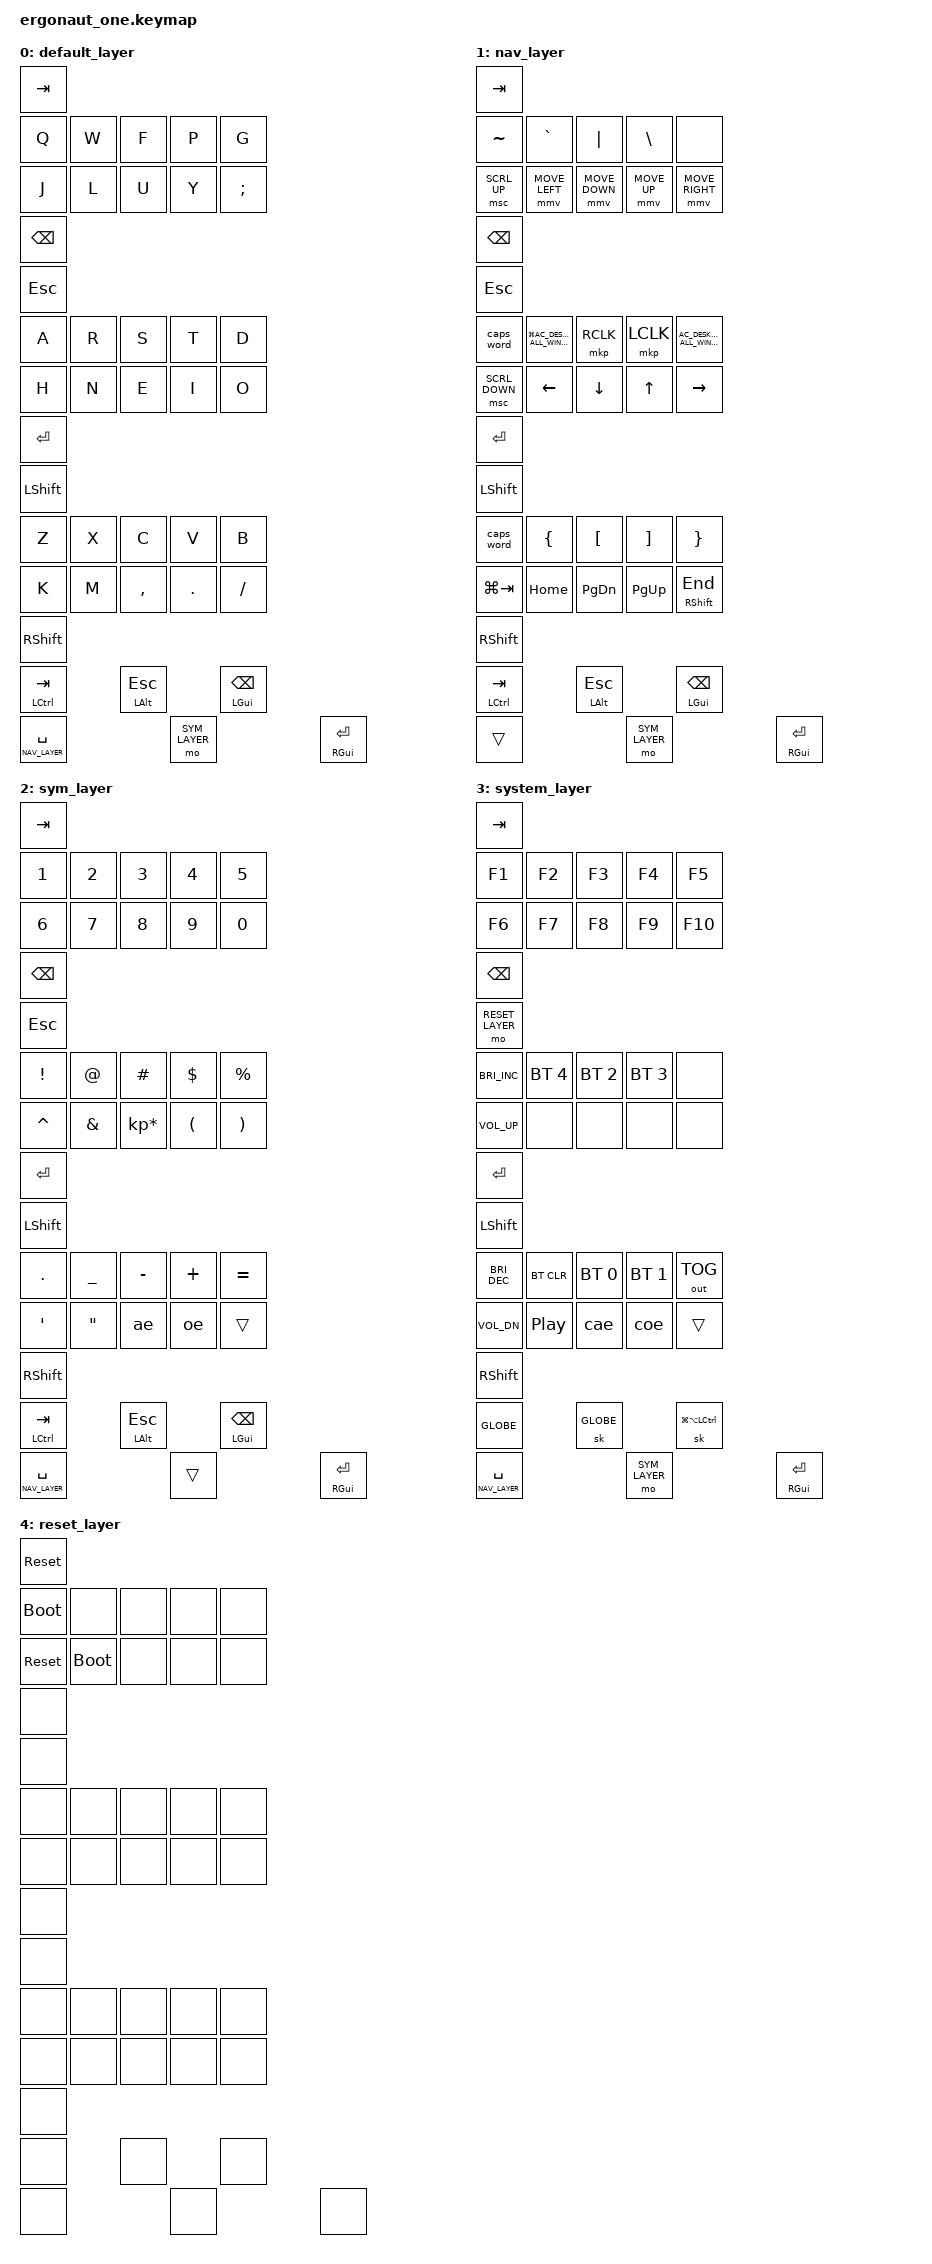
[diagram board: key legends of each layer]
#include <behaviors.dtsi>
#include <dt-bindings/zmk/keys.h>
#include <dt-bindings/zmk/bt.h>
#include <dt-bindings/zmk/mouse.h>
#include <dt-bindings/zmk/outputs.h>

#define NAV_LAYER 1
#define SYM_LAYER 2
#define SYSTEM_LAYER 3
#define RESET_LAYER 4

/ {
        behaviors {
                ht: holdtap {
                        compatible = "zmk,behavior-hold-tap";
                        label = "THUMB_HOLD_TAPS";
                        #binding-cells = <2>;
                        tapping-term-ms = <300>;
                        flavor = "balanced";
                        global-quick-tap;
                        quick-tap-ms = <0>;
                        bindings = <&kp>, <&kp>;
                };
        };

        macros {
                ae: ae {
                        label = "ä";
                        compatible = "zmk,behavior-macro";
                        #binding-cells = <0>;
                        wait-ms = <40>;
                        tap-ms = <40>;
                        bindings
                                = <&macro_press &kp LALT>
                                , <&macro_tap &kp U>
                                , <&macro_release &kp LALT>
                                , <&macro_tap &kp A>
                                ;
                };
                oe: oe {
                        label = "ö";
                        compatible = "zmk,behavior-macro";
                        #binding-cells = <0>;
                        wait-ms = <40>;
                        tap-ms = <40>;
                        bindings
                                = <&macro_press &kp LALT>
                                , <&macro_tap &kp U>
                                , <&macro_release &kp LALT>
                                , <&macro_tap &kp O>
                                ;
                };
                cae: cae {
                        label = "Ä";
                        compatible = "zmk,behavior-macro";
                        #binding-cells = <0>;
                        wait-ms = <40>;
                        tap-ms = <40>;
                        bindings
                                = <&macro_press &kp LALT>
                                , <&macro_tap &kp U>
                                , <&macro_release &kp LALT>
                                , <&macro_press &kp LSHFT>
                                , <&macro_tap &kp A>
                                , <&macro_release &kp LSHFT>
                                ;
                };
                coe: coe {
                        label = "Ö";
                        compatible = "zmk,behavior-macro";
                        #binding-cells = <0>;
                        wait-ms = <40>;
                        tap-ms = <40>;
                        bindings
                                = <&macro_press &kp LALT>
                                , <&macro_tap &kp U>
                                , <&macro_release &kp LALT>
                                , <&macro_press &kp LSHFT>
                                , <&macro_tap &kp O>
                                , <&macro_release &kp LSHFT>
                                ;
                };
        };

        
        combos {
                compatible = "zmk,combos";
                combo_mo1 {
                    timeout-ms = <50>;
                    key-positions = <39 40>;
                    bindings = <&mo SYSTEM_LAYER>;
                };
        };

        keymap {
                compatible = "zmk,keymap";

                default_layer {
                        bindings = <
   &kp TAB
   &kp Q &kp W &kp F &kp P &kp G   
   &kp J &kp L &kp U &kp Y &kp SEMI
   &kp BSPC

   &kp ESC
   &kp A &kp R &kp S &kp T &kp D
   &kp H &kp N &kp E &kp I &kp O
   &kp RET

   &kp LSHFT 
   &kp Z &kp X &kp C &kp V &kp B
   &kp K &kp M  &kp COMMA &kp DOT &kp FSLH
   &kp RSHFT 

   &ht LCTRL TAB &ht LALT ESC &ht LGUI BSPC   
   &lt NAV_LAYER SPACE &mo SYM_LAYER &ht RGUI RET
                        >;
                };

                nav_layer {
                        bindings = <
   &kp TAB
   &kp TILDE &kp GRAVE &kp PIPE &kp BSLH &none
   &msc SCRL_UP &mmv MOVE_LEFT &mmv MOVE_DOWN &mmv MOVE_UP &mmv MOVE_RIGHT 
   &kp BSPC

   &kp ESC
   &caps_word &kp LG(C_AC_DESKTOP_SHOW_ALL_WINDOWS) &mkp RCLK &mkp LCLK &kp C_AC_DESKTOP_SHOW_ALL_WINDOWS
   &msc SCRL_DOWN &kp LEFT &kp DOWN &kp UP &kp RIGHT 
   &kp RET

   &kp LSHFT
   &caps_word &kp LBRC &kp LBKT &kp RBKT &kp RBRC
   &kp LG(TAB) &kp HOME &kp PG_DN &kp PG_UP &ht RSHFT END
   &kp RSHFT 

   &ht LCTRL TAB &ht LALT ESC &ht LGUI BSPC   
   &trans &mo SYM_LAYER &ht RGUI RET
                        >;
                };

                sym_layer {
                        bindings = <
   &kp TAB
   &kp N1 &kp N2 &kp N3 &kp N4 &kp N5
   &kp N6 &kp N7 &kp N8 &kp N9 &kp N0
   &kp BSPC

   &kp ESC
   &kp EXCL &kp AT &kp HASH &kp DLLR &kp PRCNT   
   &kp CARET &kp AMPS  &kp KP_MULTIPLY &kp LPAR &kp RPAR
   &kp RET

   &kp LSHFT 
   &kp DOT &kp UNDER &kp MINUS &kp PLUS &kp EQUAL  
   &kp APOS &kp DQT &ae &oe &trans
   &kp RSHFT 

   &ht LCTRL TAB &ht LALT ESC &ht LGUI BSPC   
   &lt NAV_LAYER SPACE &trans &ht RGUI RET
                        >;
                };

                system_layer {
                        bindings = <
   &kp TAB
   &kp F1 &kp F2 &kp F3 &kp F4 &kp F5 
   &kp F6 &kp F7 &kp F8 &kp F9 &kp F10
   &kp BSPC

   &mo RESET_LAYER
   &kp C_BRIGHTNESS_INC &bt BT_SEL 4 &bt BT_SEL 2 &bt BT_SEL 3 &none
   &kp C_VOL_UP &none &none &none &none
   &kp RET

   &kp LSHFT 
   &kp C_BRIGHTNESS_DEC &bt BT_CLR &bt BT_SEL 0 &bt BT_SEL 1 &out OUT_TOG
   &kp C_VOL_DN &kp C_PLAY_PAUSE &cae &coe &trans
   &kp RSHFT 

   &kp GLOBE &sk GLOBE &sk LG(LA(LCTRL))
   &lt NAV_LAYER SPACE &mo SYM_LAYER &ht RGUI RET
                        >;
                };

                reset_layer {
                        bindings = <

   &sys_reset &bootloader &none &none &none &none 
   &sys_reset &bootloader &none &none &none &none 

   &none &none &none &none &none &none 
   &none &none &none &none &none &none 
                                
   &none &none &none &none &none &none 
   &none &none &none &none &none &none 

   &none &none &none &none &none &none 
                        >;
                };

        };
};
